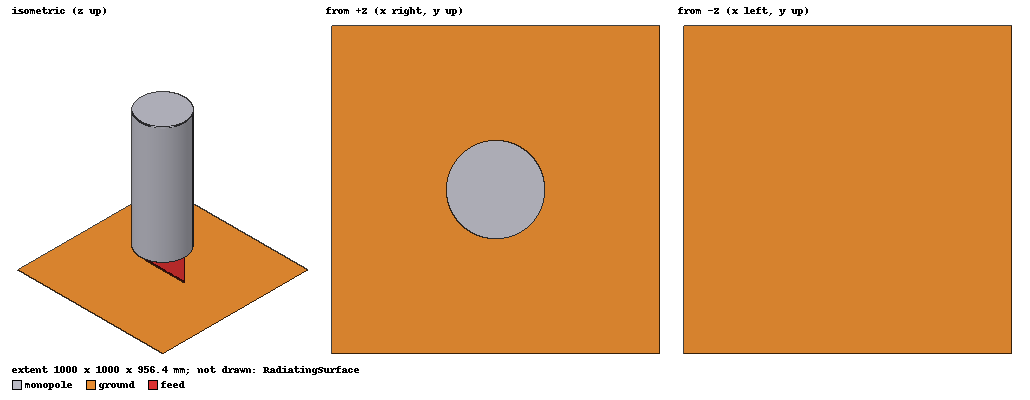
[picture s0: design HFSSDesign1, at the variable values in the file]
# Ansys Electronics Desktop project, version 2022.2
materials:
  vacuum: permittivity=1
  pec: conductivity=1e+30

design HFSSDesign1 (HFSS, DrivenModal, model units mm)
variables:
  rad = 150mm
  ht = 806.4mm
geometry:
  monopole [pec] = cylinder(axis=Z, base_centre=(0mm, 0mm, 150mm), radius=rad, height=ht)
  feed = rectangle(corner=(0mm, -150mm, 150mm), y_size=300mm, z_size=-150mm)
  ground = rectangle(corner=(500mm, -500mm, 0mm), x_size=-1000mm, y_size=1000mm)
  RadiatingSurface [vacuum] = region(absolute_offset=1075.2688mm on all sides)
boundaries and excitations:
  PerfE1: Perfect E Objects=ground
  Open1: Radiation Objects=RadiatingSurface
  1: Lumped Port Objects=feed Modes{Mode1{IntLine{(0, 0, 0) -> (0, 0, 150)} CharImp=Zpi RenormImp=50ohm}} Impedance=50ohm
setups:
  Setup1: HfssDriven Frequency=93MHz MaxDeltaS=0.02 MaximumPasses=6 MinimumPasses=1 MinimumConvergedPasses=1 PercentRefinement=30 BasisOrder=1 PortAccuracy=2 DrivenSolverType="Direct Solver"
    sweep Sweep: 88MHz to 108MHz step 1MHz; Type=Fast SaveFields
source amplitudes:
  1:1: 1W 0deg
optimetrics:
  ParametricSetup1: Parametric Sim._Setups=[Setup1]
    sweep rad: LIN 140mm 160mm 2mm
    sweep ht: LIN 800mm 820mm 2mm
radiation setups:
  3D: Infinite Sphere Theta=0deg..180deg step 2deg Phi=-180deg..180deg step 2deg
  Elevation: Infinite Sphere Theta=-180deg..180deg step 1deg Phi=0deg..90deg step 90deg
  Azimuth: Infinite Sphere Theta=90deg..90deg step 0deg Phi=-180deg..180deg step 1deg
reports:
  S Parameter Plot 1: dB(S(1,1)) vs Freq on Setup1 : Sweep [rad=all ht=all]
  VSWR Plot 1: VSWR(1) vs Freq on Setup1 : Sweep [rad=all ht=all]
  S Parameter Plot 2: dB(S(1,1)) vs Freq, rad on Setup1 : Sweep [ht=800mm]
  S Parameter Plot 3: dB(S(1,1)) vs Freq, rad on Setup1 : Sweep [ht=800mm]
